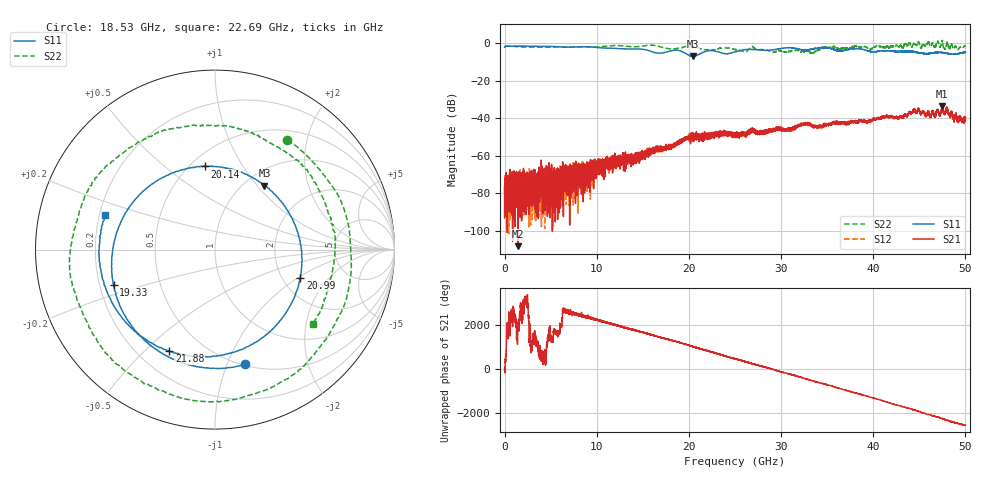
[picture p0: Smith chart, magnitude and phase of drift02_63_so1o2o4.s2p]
!Created with skrf (http://scikit-rf.org).
# Hz S RI R 50.0
!freq ReS11 ImS11 ReS21 ImS21 ReS12 ImS12 ReS22 ImS22
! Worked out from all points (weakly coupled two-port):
!   10001 points, 300 kHz to 50 GHz, reference 50 ohm
!   highest |S21| = -33.62 dB at 47.5 GHz (marker M1); lowest = -108.4 dB at 1.425 GHz (marker M2)
!   lowest |S11| = -6.9 dB at 20.45 GHz (marker M3), VSWR 2.64, Z = 61.1 + j54.6 ohm
!   |S11| at or under -10 dB: nowhere
!   |S22| runs from -5.4 to 1.6 dB; largest |S21 - S12| = 0.0039
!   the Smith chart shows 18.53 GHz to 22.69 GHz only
!   S11 on the Smith chart (normalised r, x): 18.53 GHz: 0.51, -1.16; 19.33 GHz: 0.26, -0.16; 20.14 GHz: 0.59, +0.70; 20.99 GHz: 2.50, -1.05; 21.88 GHz: 0.32, -0.60; 22.69 GHz: 0.22, +0.15
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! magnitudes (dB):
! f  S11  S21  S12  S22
! 300 kHz  -2.0  -93.3  -79.0  -1.3
! 405.3 MHz  -1.4  -70.6  -77.7  -1.4
! 1.425 GHz  -1.4  -108.4  -83.5  -1.7
! 5.385 GHz  -1.6  -77.6  -77.8  -2.0
! 8.335 GHz  -1.7  -69.3  -71.4  -1.9
! 16.67 GHz  -5.2  -56.9  -58.1  -1.5
! 18.53 GHz  -3.6  -55.1  -53.7  -2.7
! 19.33 GHz  -4.5  -51.4  -51.8  -2.1
! 20.14 GHz  -6.6  -51.5  -51.0  -1.5
! 20.45 GHz  -6.9  -50.2  -50.1  -1.8
! 20.99 GHz  -6.0  -49.0  -49.1  -2.3
! 21.88 GHz  -4.1  -48.8  -50.0  -3.4
! 22.69 GHz  -3.9  -49.4  -48.6  -3.3
! 25 GHz  -4.5  -48.2  -49.0  -3.2
! 26.11 GHz  -3.3  -48.6  -48.8  -4.3
! 26.9 GHz  -3.2  -45.9  -46.5  -1.6
! 33.34 GHz  -3.0  -43.9  -43.4  -5.1
! 34.89 GHz  -2.2  -43.1  -43.7  -2.2
! 41.67 GHz  -3.9  -39.4  -38.9  -1.9
! 44.66 GHz  -4.7  -36.9  -36.9  -0.7
! 47.5 GHz  -4.8  -33.6  -33.7  1.3
! 50 GHz  -4.7  -39.7  -40.1  -1.6
